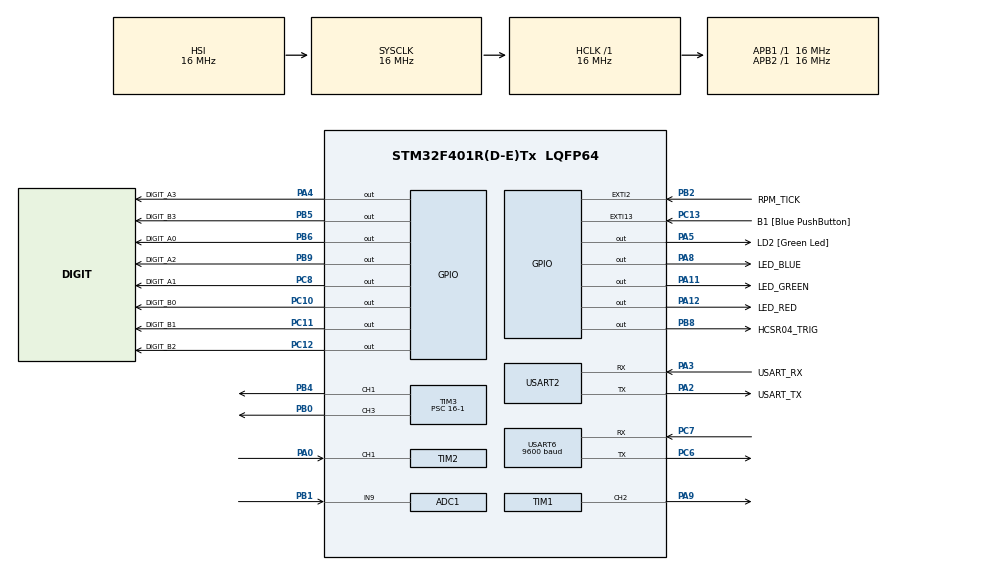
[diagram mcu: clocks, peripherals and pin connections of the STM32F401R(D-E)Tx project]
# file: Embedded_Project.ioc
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ADC1.Channel-0\#ChannelRegularConversion=ADC_CHANNEL_9
ADC1.NbrOfConversionFlag=1
ADC1.Rank-0\#ChannelRegularConversion=1
ADC1.SamplingTime-0\#ChannelRegularConversion=ADC_SAMPLETIME_3CYCLES
ADC1.master=1
Mcu.Family=STM32F4
Mcu.Name=STM32F401R(D-E)Tx
Mcu.Package=LQFP64
NVIC.EXTI15_10_IRQn=true\:0\:0\:false\:false\:true\:true\:true\:true
NVIC.EXTI2_IRQn=true\:0\:0\:false\:false\:true\:true\:true\:true
NVIC.PriorityGroup=NVIC_PRIORITYGROUP_0
NVIC.TIM2_IRQn=true\:0\:0\:false\:false\:true\:true\:true\:true
NVIC.TIM5_IRQn=true\:0\:0\:false\:false\:true\:true\:true\:true
NVIC.USART6_IRQn=true\:0\:0\:false\:false\:true\:true\:true\:true
PA0-WKUP.Signal=S_TIM2_CH1_ETR
PA11.GPIO_Label=LED_GREEN
PA11.Signal=GPIO_Output
PA12.GPIO_Label=LED_RED
PA12.Signal=GPIO_Output
PA13.GPIO_Label=TMS
PA13.Mode=Serial_Wire
PA13.Signal=SYS_JTMS-SWDIO
PA14.GPIO_Label=TCK
PA14.Mode=Serial_Wire
PA14.Signal=SYS_JTCK-SWCLK
PA2.GPIO_Label=USART_TX
PA2.GPIO_Mode=GPIO_MODE_AF_PP
PA2.GPIO_PuPd=GPIO_NOPULL
PA2.GPIO_Speed=GPIO_SPEED_FREQ_LOW
PA2.Mode=Asynchronous
PA2.Signal=USART2_TX
PA3.GPIO_Label=USART_RX
PA3.GPIO_Mode=GPIO_MODE_AF_PP
PA3.GPIO_PuPd=GPIO_NOPULL
PA3.GPIO_Speed=GPIO_SPEED_FREQ_LOW
PA3.Mode=Asynchronous
PA3.Signal=USART2_RX
PA4.GPIO_Label=DIGIT_A3
PA4.Signal=GPIO_Output
PA5.GPIO_Label=LD2 [Green Led]
PA5.GPIO_Mode=GPIO_MODE_OUTPUT_PP
PA5.GPIO_PuPd=GPIO_NOPULL
PA5.GPIO_Speed=GPIO_SPEED_FREQ_LOW
PA5.Signal=GPIO_Output
PA8.GPIO_Label=LED_BLUE
PA8.Signal=GPIO_Output
PA9.Signal=S_TIM1_CH2
PB0.Signal=S_TIM3_CH3
PB1.Signal=ADCx_IN9
PB2.GPIO_Label=RPM_TICK
PB2.Signal=GPXTI2
PB3.GPIO_Label=SWO
PB3.Signal=SYS_JTDO-SWO
PB4.Signal=S_TIM3_CH1
PB5.GPIO_Label=DIGIT_B3
PB5.Signal=GPIO_Output
PB6.GPIO_Label=DIGIT_A0
PB6.Signal=GPIO_Output
PB8.GPIO_Label=HCSR04_TRIG 
PB8.Signal=GPIO_Output
PB9.GPIO_Label=DIGIT_A2
PB9.Signal=GPIO_Output
PC10.GPIO_Label=DIGIT_B0
PC10.Signal=GPIO_Output
PC11.GPIO_Label=DIGIT_B1
PC11.Signal=GPIO_Output
PC12.GPIO_Label=DIGIT_B2
PC12.Signal=GPIO_Output
PC13-ANTI_TAMP.GPIO_Label=B1 [Blue PushButton]
PC13-ANTI_TAMP.GPIO_ModeDefaultEXTI=GPIO_MODE_IT_FALLING
PC13-ANTI_TAMP.GPIO_PuPd=GPIO_NOPULL
PC13-ANTI_TAMP.Signal=GPXTI13
PC14-OSC32_IN.Mode=LSE-External-Oscillator
PC14-OSC32_IN.Signal=RCC_OSC32_IN
PC15-OSC32_OUT.Mode=LSE-External-Oscillator
PC15-OSC32_OUT.Signal=RCC_OSC32_OUT
PC6.Mode=Asynchronous
PC6.Signal=USART6_TX
PC7.Mode=Asynchronous
PC7.Signal=USART6_RX
PC8.GPIO_Label=DIGIT_A1
PC8.Signal=GPIO_Output
PH0\ -\ OSC_IN.Mode=HSE-External-Clock-Source
PH0\ -\ OSC_IN.Signal=RCC_OSC_IN
PH1\ -\ OSC_OUT.Mode=HSE-External-Clock-Source
PH1\ -\ OSC_OUT.Signal=RCC_OSC_OUT
ProjectManager.HeapSize=0x200
ProjectManager.StackSize=0x400
ProjectManager.TargetToolchain=STM32CubeIDE
RCC.48MHZClocksFreq_Value=48000000
RCC.AHBFreq_Value=16000000
RCC.APB1Freq_Value=16000000
RCC.APB1TimFreq_Value=16000000
RCC.APB2Freq_Value=16000000
RCC.APB2TimFreq_Value=16000000
RCC.CortexFreq_Value=16000000
RCC.HCLKFreq_Value=16000000
RCC.HSE_VALUE=8000000
RCC.HSI_VALUE=16000000
RCC.PLLN=336
RCC.PLLP=RCC_PLLP_DIV4
RCC.PLLQ=7
RCC.SYSCLKFreq_VALUE=16000000
RCC.VCOOutputFreq_Value=336000000
SH.ADCx_IN9.0=ADC1_IN9,IN9
SH.S_TIM1_CH2.0=TIM1_CH2,PWM Generation2 CH2
SH.S_TIM2_CH1_ETR.0=TIM2_CH1,Input_Capture1_from_TI1
SH.S_TIM3_CH1.0=TIM3_CH1,PWM Generation1 CH1
SH.S_TIM3_CH3.0=TIM3_CH3,PWM Generation3 CH3
TIM1.AutoReloadPreload=TIM_AUTORELOAD_PRELOAD_ENABLE
TIM1.Channel-PWM\ Generation2\ CH2=TIM_CHANNEL_2
TIM1.Period=20000-1
TIM1.Prescaler=16-1
TIM1.Pulse-PWM\ Generation2\ CH2=500-1
TIM2.AutoReloadPreload=TIM_AUTORELOAD_PRELOAD_ENABLE
TIM2.Channel-Input_Capture1_from_TI1=TIM_CHANNEL_1
TIM2.ICPolarity_CH1=TIM_INPUTCHANNELPOLARITY_BOTHEDGE
TIM2.Period=65536-1
TIM2.Prescaler=16-1
TIM3.AutoReloadPreload=TIM_AUTORELOAD_PRELOAD_ENABLE
TIM3.Channel-PWM\ Generation1\ CH1=TIM_CHANNEL_1
TIM3.Channel-PWM\ Generation3\ CH3=TIM_CHANNEL_3
TIM3.Period=2000-1
TIM3.Prescaler=16-1
TIM3.Pulse-PWM\ Generation1\ CH1=1200-1
TIM5.Period=1000-1
TIM5.Prescaler=16000-1
USART2.VirtualMode=VM_ASYNC
USART6.BaudRate=9600
USART6.VirtualMode=VM_ASYNC
VP_TIM2_VS_ClockSourceINT.Mode=Internal
VP_TIM3_VS_ClockSourceINT.Mode=Internal
VP_TIM5_VS_ClockSourceINT.Mode=Internal
board=NUCLEO-F401RE

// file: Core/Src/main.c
/* USER CODE BEGIN Header */
/**
 ******************************************************************************
 * @file           : main.c
 * @brief          : Main program body
 ******************************************************************************
 * @attention
 *
 * Copyright (c) 2023 STMicroelectronics.
 * All rights reserved.
 *
 * This software is licensed under terms that can be found in the LICENSE file
 * in the root directory of this software component.
 * If no LICENSE file comes with this software, it is provided AS-IS.
 *
 ******************************************************************************
 */
/* USER CODE END Header */
#include "main.h"

ADC_HandleTypeDef hadc1;

TIM_HandleTypeDef htim1;
TIM_HandleTypeDef htim2;
TIM_HandleTypeDef htim3;
TIM_HandleTypeDef htim5;

UART_HandleTypeDef huart2;
UART_HandleTypeDef huart6;

void SystemClock_Config(void);
static void MX_GPIO_Init(void);
static void MX_USART2_UART_Init(void);
static void MX_ADC1_Init(void);
static void MX_TIM2_Init(void);
static void MX_TIM3_Init(void);
static void MX_USART6_UART_Init(void);
static void MX_TIM5_Init(void);
static void MX_TIM1_Init(void);
/* USER CODE BEGIN PFP */
static void ADC_Select_CH(int CH);
/* USER CODE END PFP */

/* USER CODE BEGIN 0 */
void DIGITS_Display(uint8_t DIGIT_A, uint8_t DIGIT_B) {
	uint8_t DIGITA_VAL = 0x0F & DIGIT_A; //mask off higher4 bits
	int Abit0 = (DIGITA_VAL) & 1;  	// extract Abit0 of the 4-bit value
	int Abit1 = (DIGITA_VAL >> 1) & 1;  // extract Abit1 of the 4-bit value
	int Abit2 = (DIGITA_VAL >> 2) & 1;  // extract Abit2 of the 4-bit value
	int Abit3 = (DIGITA_VAL >> 3) & 1;  // extract Abit3 of the 4-bit value

	uint8_t DIGITB_VAL = 0x0F & DIGIT_B; //mask off higher4 bits
	int Bbit0 = (DIGITB_VAL) & 1;  	// extract Bbit0 of the 4-bit value
	int Bbit1 = (DIGITB_VAL >> 1) & 1;  // extract Bbit1 of the 4-bit value
	int Bbit2 = (DIGITB_VAL >> 2) & 1;  // extract Bbit2 of the 4-bit value
	int Bbit3 = (DIGITB_VAL >> 3) & 1;  // extract Bbit3 of the 4-bit value

	if (Abit0 == (0)) {
		HAL_GPIO_WritePin(GPIOB, DIGIT_A0_Pin, GPIO_PIN_RESET);
	} else {
		HAL_GPIO_WritePin(GPIOB, DIGIT_A0_Pin, GPIO_PIN_SET);

	}
	if (Abit1 == (0)) {
		HAL_GPIO_WritePin(GPIOC, DIGIT_A1_Pin, GPIO_PIN_RESET);
	} else {
		HAL_GPIO_WritePin(GPIOC, DIGIT_A1_Pin, GPIO_PIN_SET);

	}
	if (Abit2 == (0)) {
		HAL_GPIO_WritePin(GPIOB, DIGIT_A2_Pin, GPIO_PIN_RESET);
	} else {
		HAL_GPIO_WritePin(GPIOB, DIGIT_A2_Pin, GPIO_PIN_SET);

	}
	if (Abit3 == (0)) {
		HAL_GPIO_WritePin(GPIOA, DIGIT_A3_Pin, GPIO_PIN_RESET);
	} else {
		HAL_GPIO_WritePin(GPIOA, DIGIT_A3_Pin, GPIO_PIN_SET);

	}

	if (Bbit0 == (0)) {
		HAL_GPIO_WritePin(GPIOC, DIGIT_B0_Pin, GPIO_PIN_RESET);
	} else {
		HAL_GPIO_WritePin(GPIOC, DIGIT_B0_Pin, GPIO_PIN_SET);

	}
	if (Bbit1 == (0)) {
		HAL_GPIO_WritePin(GPIOC, DIGIT_B1_Pin, GPIO_PIN_RESET);
	} else {
		HAL_GPIO_WritePin(GPIOC, DIGIT_B1_Pin, GPIO_PIN_SET);

	}
	if (Bbit2 == (0)) {
		HAL_GPIO_WritePin(GPIOC, DIGIT_B2_Pin, GPIO_PIN_RESET);
	} else {
		HAL_GPIO_WritePin(GPIOC, DIGIT_B2_Pin, GPIO_PIN_SET);

	}
	if (Bbit3 == (0)) {
		HAL_GPIO_WritePin(GPIOB, DIGIT_B3_Pin, GPIO_PIN_RESET);
	} else {
		HAL_GPIO_WritePin(GPIOB, DIGIT_B3_Pin, GPIO_PIN_SET);

	}
}
void ADC_Select_CH(int CH) {
	ADC_ChannelConfTypeDef sConfig = { 0 };
	switch (CH) {
	case 0:
		sConfig.Channel = ADC_CHANNEL_0;
		sConfig.Rank = 1;
		if (HAL_ADC_ConfigChannel(&hadc1, &sConfig) != HAL_OK) {
			Error_Handler();
		}
		break;
	case 1:
		sConfig.Channel = ADC_CHANNEL_1;
		sConfig.Rank = 1;
		if (HAL_ADC_ConfigChannel(&hadc1, &sConfig) != HAL_OK) {
			Error_Handler();
		}
		break;
	case 2:
		sConfig.Channel = ADC_CHANNEL_2;
		sConfig.Rank = 1;
		if (HAL_ADC_ConfigChannel(&hadc1, &sConfig) != HAL_OK) {
			Error_Handler();
		}
		break;
	case 3:
		sConfig.Channel = ADC_CHANNEL_3;
		sConfig.Rank = 1;
		if (HAL_ADC_ConfigChannel(&hadc1, &sConfig) != HAL_OK) {
			Error_Handler();
		}
		break;
	case 4:
		sConfig.Channel = ADC_CHANNEL_4;
		sConfig.Rank = 1;
		if (HAL_ADC_ConfigChannel(&hadc1, &sConfig) != HAL_OK) {
			Error_Handler();
		}
		break;
	case 5:
		sConfig.Channel = ADC_CHANNEL_5;
		sConfig.Rank = 1;
		if (HAL_ADC_ConfigChannel(&hadc1, &sConfig) != HAL_OK) {
			Error_Handler();
		}
		break;
	case 6:
		sConfig.Channel = ADC_CHANNEL_6;
		sConfig.Rank = 1;
		if (HAL_ADC_ConfigChannel(&hadc1, &sConfig) != HAL_OK) {
			Error_Handler();
		}
		break;
	case 7:
		sConfig.Channel = ADC_CHANNEL_7;
		sConfig.Rank = 1;
		if (HAL_ADC_ConfigChannel(&hadc1, &sConfig) != HAL_OK) {
			Error_Handler();
		}
		break;
	case 8:
		sConfig.Channel = ADC_CHANNEL_8;
		sConfig.Rank = 1;
		if (HAL_ADC_ConfigChannel(&hadc1, &sConfig) != HAL_OK) {
			Error_Handler();
		}
		break;
	case 9:
		sConfig.Channel = ADC_CHANNEL_9;
		sConfig.Rank = 1;
		if (HAL_ADC_ConfigChannel(&hadc1, &sConfig) != HAL_OK) {
			Error_Handler();
		}
		break;
	case 10:
		sConfig.Channel = ADC_CHANNEL_10;
		sConfig.Rank = 1;
		if (HAL_ADC_ConfigChannel(&hadc1, &sConfig) != HAL_OK) {
			Error_Handler();
		}
		break;
	case 11:
		sConfig.Channel = ADC_CHANNEL_11;
		sConfig.Rank = 1;
		if (HAL_ADC_ConfigChannel(&hadc1, &sConfig) != HAL_OK) {
			Error_Handler();
		}
		break;
	case 12:
		sConfig.Channel = ADC_CHANNEL_12;
		sConfig.Rank = 1;
		if (HAL_ADC_ConfigChannel(&hadc1, &sConfig) != HAL_OK) {
			Error_Handler();
		}
		break;
	case 13:
		sConfig.Channel = ADC_CHANNEL_13;
		sConfig.Rank = 1;
		if (HAL_ADC_ConfigChannel(&hadc1, &sConfig) != HAL_OK) {
			Error_Handler();
		}
		break;
	case 14:
		sConfig.Channel = ADC_CHANNEL_14;
		sConfig.Rank = 1;
		if (HAL_ADC_ConfigChannel(&hadc1, &sConfig) != HAL_OK) {
			Error_Handler();
		}
		break;
	case 15:
		sConfig.Channel = ADC_CHANNEL_15;
		sConfig.Rank = 1;
		if (HAL_ADC_ConfigChannel(&hadc1, &sConfig) != HAL_OK) {
			Error_Handler();
		}
		break;
	}
}
volatile uint8_t hcsr04_Rx_flag = 0;
volatile uint8_t first_edge = 0;
volatile uint16_t time_edge1 = 0;
volatile uint16_t time_edge2 = 0;
volatile uint16_t rpm_tick_count = 0;
volatile uint8_t clock_secs = 0;
volatile int trig = 0;
int8_t MotorInputs[4];
int8_t WallClkInputs[9];

/* USER CODE END 0 */

int main(void) {
	/* USER CODE BEGIN 1 */
	uint8_t txd_msg_buffer[128] = { 0 };
	uint8_t rxd_msg_buffer[128] = { 0 };
	uint16_t time_diff = 0;
	uint16_t distance = 0;

	void HCSR04_TRIG_PULSE(void) {
		HAL_GPIO_WritePin(HCSR04_TRIG_GPIO_Port, HCSR04_TRIG_Pin, GPIO_PIN_SET);
		for (int j = 0; j != 15; j = j + 1) {
		};
		HAL_GPIO_WritePin(HCSR04_TRIG_GPIO_Port, HCSR04_TRIG_Pin,
				GPIO_PIN_RESET);
	}
	/* USER CODE END 1 */

	/* MCU Configuration--------------------------------------------------------*/

	/* Reset of all peripherals, Initializes the Flash interface and the Systick. */
	HAL_Init();

	/* Configure the system clock */
	SystemClock_Config();

	/* Initialize all configured peripherals */
	MX_GPIO_Init();
	MX_USART2_UART_Init();
	MX_ADC1_Init();
	MX_TIM2_Init();
	MX_TIM3_Init();
	MX_USART6_UART_Init();
	MX_TIM5_Init();
	MX_TIM1_Init();
	/* USER CODE BEGIN 2 */
	HAL_TIM_Base_Init(&htim3);
	HAL_TIM_Base_Init(&htim2);
	HAL_TIM_Base_Start(&htim2);
	HAL_TIM_IC_Start_IT(&htim2, TIM_CHANNEL_1);
	HAL_TIM_PWM_Start(&htim3, TIM_CHANNEL_1);
	HAL_TIM_PWM_Start(&htim3, TIM_CHANNEL_3);

	// start up TIMER 5 for one second interrupts

	__HAL_RCC_GPIOC_CLK_ENABLE();
	__HAL_RCC_GPIOH_CLK_ENABLE();
	__HAL_RCC_GPIOB_CLK_ENABLE();
	__HAL_RCC_GPIOA_CLK_ENABLE();

	GPIO_InitTypeDef GPIO_InitStruct;
	GPIO_InitStruct.Pin = GPIO_PIN_5;
	GPIO_InitStruct.Mode = GPIO_MODE_OUTPUT_PP;
	GPIO_InitStruct.Speed = GPIO_SPEED_FREQ_LOW;
	HAL_GPIO_Init(GPIOA, &GPIO_InitStruct);

	int TIM1_Ch2_DCVAL = 500;
	int TIM1_CH2_STEP = 20;

	HAL_TIM_Base_Start(&htim1);
	HAL_TIM_PWM_Start(&htim1, TIM_CHANNEL_2);
	TIM1->PSC = 16 - 1;
	TIM1->ARR = 20000 - 1;
	TIM1->CCR1 = TIM1_Ch2_DCVAL;
	/* USER CODE END 2 */

	/* Infinite loop */
	/* USER CODE BEGIN WHILE */
	int counter = 0;
	//HCSR04_TRIG_PULSE();

	// SETUP MODE //

	TIM3->CCR1 = 0;
	TIM3->CCR3 = 0;
	HAL_GPIO_WritePin(GPIOA, GPIO_PIN_5, GPIO_PIN_RESET);

	sprintf((char*) txd_msg_buffer, "\r\nSETUP MODE\r\n");
	HAL_UART_Transmit(&huart6, txd_msg_buffer, strlen((char*) txd_msg_buffer),
			100);

	//Motor Inputs
	sprintf((char*) txd_msg_buffer, "INTLET MOTOR SPEED PWM (option 0-3):");
	HAL_UART_Transmit(&huart6, txd_msg_buffer, strlen((char*) txd_msg_buffer),
			100);
	while (1) {
		HAL_UART_Receive(&huart6, rxd_msg_buffer, 1, HAL_MAX_DELAY);
		if (*rxd_msg_buffer - '0' >= 0 && *rxd_msg_buffer - '0' <= 3)
			break;
	}
	sprintf((char*) txd_msg_buffer, "%d\r\n", *rxd_msg_buffer - '0');
	HAL_UART_Transmit(&huart6, txd_msg_buffer, strlen((char*) txd_msg_buffer),
			100);
	MotorInputs[0] = *rxd_msg_buffer - '0';

	sprintf((char*) txd_msg_buffer, "ZONE 1 MOTOR SPEED PWM (option 0-3):");
	HAL_UART_Transmit(&huart6, txd_msg_buffer, strlen((char*) txd_msg_buffer),
			100);
	while (1) {
		HAL_UART_Receive(&huart6, rxd_msg_buffer, 1, HAL_MAX_DELAY);
		if (*rxd_msg_buffer - '0' >= 0 && *rxd_msg_buffer - '0' <= 3)
			break;
	}
	sprintf((char*) txd_msg_buffer, "%d\r\n", *rxd_msg_buffer - '0');
	HAL_UART_Transmit(&huart6, txd_msg_buffer, strlen((char*) txd_msg_buffer),
			100);
	MotorInputs[1] = *rxd_msg_buffer - '0';

	sprintf((char*) txd_msg_buffer, "ZONE 2 MOTOR SPEED PWM (option 0-3):");
	HAL_UART_Transmit(&huart6, txd_msg_buffer, strlen((char*) txd_msg_buffer),
			100);
	while (1) {
		HAL_UART_Receive(&huart6, rxd_msg_buffer, 1, HAL_MAX_DELAY);
		if (*rxd_msg_buffer - '0' >= 0 && *rxd_msg_buffer - '0' <= 3)
			break;
	}
	sprintf((char*) txd_msg_buffer, "%d\r\n", *rxd_msg_buffer - '0');
	HAL_UART_Transmit(&huart6, txd_msg_buffer, strlen((char*) txd_msg_buffer),
			100);
	MotorInputs[2] = *rxd_msg_buffer - '0';

	sprintf((char*) txd_msg_buffer, "ZONE 3 MOTOR SPEED PWM (option 0-3):");
	HAL_UART_Transmit(&huart6, txd_msg_buffer, strlen((char*) txd_msg_buffer),
			100);
	while (1) {
		HAL_UART_Receive(&huart6, rxd_msg_buffer, 1, HAL_MAX_DELAY);
		if (*rxd_msg_buffer - '0' >= 0 && *rxd_msg_buffer - '0' <= 3)
			break;
	}
	sprintf((char*) txd_msg_buffer, "%d\r\n", *rxd_msg_buffer - '0');
	HAL_UART_Transmit(&huart6, txd_msg_buffer, strlen((char*) txd_msg_buffer),
			100);
	MotorInputs[3] = *rxd_msg_buffer - '0';

	int recvd;
	//Wall Clock Inputs
	sprintf((char*) txd_msg_buffer, "CURRENT WALL CLOCK TIME (0-23):");
	HAL_UART_Transmit(&huart6, txd_msg_buffer, strlen((char*) txd_msg_buffer),
			100);
	//while (HAL_UART_Receive(&huart6, rxd_msg_buffer, 2, HAL_MAX_DELAY) != HAL_OK);
	while (1) {
		HAL_UART_Receive(&huart6, rxd_msg_buffer, 2, HAL_MAX_DELAY);
		recvd = (rxd_msg_buffer[0] - '0') * 10 + (rxd_msg_buffer[1] - '0');
		if (recvd >= 0 && recvd <= 23)
			break;
	}
	sprintf((char*) txd_msg_buffer, "%d\r\n",
			(rxd_msg_buffer[0] - '0') * 10 + (rxd_msg_buffer[1] - '0'));
	HAL_UART_Transmit(&huart6, txd_msg_buffer, strlen((char*) txd_msg_buffer),
			100);
	WallClkInputs[0] = (rxd_msg_buffer[0] - '0') * 10
			+ (rxd_msg_buffer[1] - '0');
	sprintf((char*) txd_msg_buffer, "INLET WALL CLOCK START TIME (0-23):");
	HAL_UART_Transmit(&huart6, txd_msg_buffer, strlen((char*) txd_msg_buffer),
			100);
	//while (HAL_UART_Receive(&huart6, rxd_msg_buffer, 2, HAL_MAX_DELAY) != HAL_OK);
	while (1) {
		HAL_UART_Receive(&huart6, rxd_msg_buffer, 2, HAL_MAX_DELAY);
		recvd = (rxd_msg_buffer[0] - '0') * 10 + (rxd_msg_buffer[1] - '0');
		if (recvd >= 0 && recvd <= 23)
			break;
	}
	sprintf((char*) txd_msg_buffer, "%d\r\n",
			(rxd_msg_buffer[0] - '0') * 10 + (rxd_msg_buffer[1] - '0'));
	HAL_UART_Transmit(&huart6, txd_msg_buffer, strlen((char*) txd_msg_buffer),
			100);
	WallClkInputs[1] = (rxd_msg_buffer[0] - '0') * 10
			+ (rxd_msg_buffer[1] - '0');
	sprintf((char*) txd_msg_buffer, "INLET WALL CLOCK STOP TIME (0-23):");
	HAL_UART_Transmit(&huart6, txd_msg_buffer, strlen((char*) txd_msg_buffer),
			100);
	//while (HAL_UART_Receive(&huart6, rxd_msg_buffer, 2, HAL_MAX_DELAY) != HAL_OK);
	while (1) {
		HAL_UART_Receive(&huart6, rxd_msg_buffer, 2, HAL_MAX_DELAY);
		recvd = (rxd_msg_buffer[0] - '0') * 10 + (rxd_msg_buffer[1] - '0');
		if (recvd >= 0 && recvd <= 23)
			break;
	}
	sprintf((char*) txd_msg_buffer, "%d\r\n",
			(rxd_msg_buffer[0] - '0') * 10 + (rxd_msg_buffer[1] - '0'));
	HAL_UART_Transmit(&huart6, txd_msg_buffer, strlen((char*) txd_msg_buffer),
			100);
	WallClkInputs[2] = (rxd_msg_buffer[0] - '0') * 10
			+ (rxd_msg_buffer[1] - '0');
	sprintf((char*) txd_msg_buffer, "ZONE 1 WALL CLOCK START TIME (0-23):");
	HAL_UART_Transmit(&huart6, txd_msg_buffer, strlen((char*) txd_msg_buffer),
			100);
	//while (HAL_UART_Receive(&huart6, rxd_msg_buffer, 2, HAL_MAX_DELAY) != HAL_OK);
	while (1) {
		HAL_UART_Receive(&huart6, rxd_msg_buffer, 2, HAL_MAX_DELAY);
		recvd = (rxd_msg_buffer[0] - '0') * 10 + (rxd_msg_buffer[1] - '0');
		if (recvd >= 0 && recvd <= 23)
			break;
	}
	sprintf((char*) txd_msg_buffer, "%d\r\n",
			(rxd_msg_buffer[0] - '0') * 10 + (rxd_msg_buffer[1] - '0'));
	HAL_UART_Transmit(&huart6, txd_msg_buffer, strlen((char*) txd_msg_buffer),
			100);
	WallClkInputs[3] = (rxd_msg_buffer[0] - '0') * 10
			+ (rxd_msg_buffer[1] - '0');
	sprintf((char*) txd_msg_buffer, "ZONE 1 WALL CLOCK STOP TIME (0-23):");
	HAL_UART_Transmit(&huart6, txd_msg_buffer, strlen((char*) txd_msg_buffer),
			100);
	//while (HAL_UART_Receive(&huart6, rxd_msg_buffer, 2, HAL_MAX_DELAY) != HAL_OK);
	while (1) {
		HAL_UART_Receive(&huart6, rxd_msg_buffer, 2, HAL_MAX_DELAY);
		recvd = (rxd_msg_buffer[0] - '0') * 10 + (rxd_msg_buffer[1] - '0');
		if (recvd >= 0 && recvd <= 23)
			break;
	}
	sprintf((char*) txd_msg_buffer, "%d\r\n",
			(rxd_msg_buffer[0] - '0') * 10 + (rxd_msg_buffer[1] - '0'));
	HAL_UART_Transmit(&huart6, txd_msg_buffer, strlen((char*) txd_msg_buffer),
			100);
	WallClkInputs[4] = (rxd_msg_buffer[0] - '0') * 10
			+ (rxd_msg_buffer[1] - '0');
	sprintf((char*) txd_msg_buffer, "ZONE 2 WALL CLOCK START TIME (0-23):");
	HAL_UART_Transmit(&huart6, txd_msg_buffer, strlen((char*) txd_msg_buffer),
			100);
	//while (HAL_UART_Receive(&huart6, rxd_msg_buffer, 2, HAL_MAX_DELAY) != HAL_OK);
	while (1) {
		HAL_UART_Receive(&huart6, rxd_msg_buffer, 2, HAL_MAX_DELAY);
		recvd = (rxd_msg_buffer[0] - '0') * 10 + (rxd_msg_buffer[1] - '0');
		if (recvd >= 0 && recvd <= 23)
			break;
	}
	sprintf((char*) txd_msg_buffer, "%d\r\n",
			(rxd_msg_buffer[0] - '0') * 10 + (rxd_msg_buffer[1] - '0'));
	HAL_UART_Transmit(&huart6, txd_msg_buffer, strlen((char*) txd_msg_buffer),
			100);
	WallClkInputs[5] = (rxd_msg_buffer[0] - '0') * 10
			+ (rxd_msg_buffer[1] - '0');
	sprintf((char*) txd_msg_buffer, "ZONE 2 WALL CLOCK STOP TIME (0-23):");
	HAL_UART_Transmit(&huart6, txd_msg_buffer, strlen((char*) txd_msg_buffer),
			100);
	//while (HAL_UART_Receive(&huart6, rxd_msg_buffer, 2, HAL_MAX_DELAY) != HAL_OK);
	while (1) {
		HAL_UART_Receive(&huart6, rxd_msg_buffer, 2, HAL_MAX_DELAY);
		recvd = (rxd_msg_buffer[0] - '0') * 10 + (rxd_msg_buffer[1] - '0');
		if (recvd >= 0 && recvd <= 23)
			break;
	}
	sprintf((char*) txd_msg_buffer, "%d\r\n",
			(rxd_msg_buffer[0] - '0') * 10 + (rxd_msg_buffer[1] - '0'));
	HAL_UART_Transmit(&huart6, txd_msg_buffer, strlen((char*) txd_msg_buffer),
			100);
	WallClkInputs[6] = (rxd_msg_buffer[0] - '0') * 10
			+ (rxd_msg_buffer[1] - '0');
	sprintf((char*) txd_msg_buffer, "ZONE 3 WALL CLOCK START TIME (0-23):");
	HAL_UART_Transmit(&huart6, txd_msg_buffer, strlen((char*) txd_msg_buffer),
			100);
	//while (HAL_UART_Receive(&huart6, rxd_msg_buffer, 2, HAL_MAX_DELAY) != HAL_OK);
	while (1) {
		HAL_UART_Receive(&huart6, rxd_msg_buffer, 2, HAL_MAX_DELAY);
		recvd = (rxd_msg_buffer[0] - '0') * 10 + (rxd_msg_buffer[1] - '0');
		if (recvd >= 0 && recvd <= 23)
			break;
	}
	sprintf((char*) txd_msg_buffer, "%d\r\n",
			(rxd_msg_buffer[0] - '0') * 10 + (rxd_msg_buffer[1] - '0'));
	HAL_UART_Transmit(&huart6, txd_msg_buffer, strlen((char*) txd_msg_buffer),
			100);
	WallClkInputs[7] = (rxd_msg_buffer[0] - '0') * 10
			+ (rxd_msg_buffer[1] - '0');
	sprintf((char*) txd_msg_buffer, "ZONE 3 WALL CLOCK STOP TIME (0-23):");
	HAL_UART_Transmit(&huart6, txd_msg_buffer, strlen((char*) txd_msg_buffer),
			100);
	//while (HAL_UART_Receive(&huart6, rxd_msg_buffer, 2, HAL_MAX_DELAY) != HAL_OK);
	while (1) {
		HAL_UART_Receive(&huart6, rxd_msg_buffer, 2, HAL_MAX_DELAY);
		recvd = (rxd_msg_buffer[0] - '0') * 10 + (rxd_msg_buffer[1] - '0');
		if (recvd >= 0 && recvd <= 23)
			break;
	}
	sprintf((char*) txd_msg_buffer, "%d\r\n",
			(rxd_msg_buffer[0] - '0') * 10 + (rxd_msg_buffer[1] - '0'));
	HAL_UART_Transmit(&huart6, txd_msg_buffer, strlen((char*) txd_msg_buffer),
			100);
	WallClkInputs[8] = (rxd_msg_buffer[0] - '0') * 10
			+ (rxd_msg_buffer[1] - '0');

	while (HAL_GPIO_ReadPin(GPIOC, B1_Pin)) {
		HAL_GPIO_WritePin(GPIOA, LD2_Pin, GPIO_PIN_SET);
		HAL_Delay(250);
		HAL_GPIO_WritePin(GPIOA, LD2_Pin, GPIO_PIN_RESET);
		HAL_Delay(250);
	}

	// RUN MODE //

	HAL_TIM_Base_Start_IT(&htim5);

	// Calculate the time elapsed for each
	HAL_GPIO_WritePin(GPIOA, GPIO_PIN_5, GPIO_PIN_SET);
	int w_clk_mins = WallClkInputs[0] / 10;
	int w_clk_secs = ((WallClkInputs[0] % 10) * 60) / 10;
	int time_1 = (WallClkInputs[2] - WallClkInputs[1]) / 10;
	int time_2 = (WallClkInputs[4] - WallClkInputs[3]) / 10;
	int time_3 = (WallClkInputs[6] - WallClkInputs[5]) / 10;
	int time_4 = (WallClkInputs[8] - WallClkInputs[7]) / 10;
	int wall_clock = WallClkInputs[0];
	int res_percent = 0;
	uint8_t tens = 0; // Mask to keep only 4 bits
	uint8_t ones = 0; // Mask to keep only 4 bits
	int print_once = 0;
	int rotations = 0;
	int percentDist = 0;
	uint16_t rpm = 0;
	int Inlet = 0;
	int Z1 = 0;
	int Z2 = 0;
	int Z3 = 0;

	char zone[6];
	strcpy(zone, "N/A");
	char mode[7];
	strcpy(mode, "N/A");

	sprintf((char*) txd_msg_buffer,
			"Wall Clock Time    Zone/Inlet    Motor Speed PWM    Motor RPM    Water Reservoir Depth\r\n");
	HAL_UART_Transmit(&huart6, txd_msg_buffer, strlen((char*) txd_msg_buffer),
			100);

	while (1) {
		HAL_Delay(50);
		ADC_Select_CH(9);
		HAL_ADC_Start(&hadc1);
		HAL_ADC_PollForConversion(&hadc1, 1000);
		uint8_t ADC_CH9 = HAL_ADC_GetValue(&hadc1);
		HAL_ADC_Stop(&hadc1);

		hcsr04_Rx_flag = 0;
		first_edge = 0;
		time_edge1 = 0;
		time_edge2 = 0;
		time_diff = 0;
		distance = 0;
		HCSR04_TRIG_PULSE();
		while (hcsr04_Rx_flag == 0) {
		};
		distance = (time_edge2 - time_edge1) / 58;
		percentDist = ((double) (distance - 3) * (double) 100) / 16;
		if (distance >= 16)
			percentDist = 99;
		tens = (percentDist / 10) & 0x0F; // Mask to keep only 4 bits
		ones = (percentDist % 10) & 0x0F; // Mask to keep only 4 bits
		DIGITS_Display(tens, ones);
		if (percentDist == 0) {
			TIM3->CCR1 = 0;
			TIM3->CCR3 = 0;
			sprintf((char*) txd_msg_buffer, "RESERVOIR IS EMPTY!");
			HAL_UART_Transmit(&huart6, txd_msg_buffer,
					strlen((char*) txd_msg_buffer), 100);
			break;
		}
		if (WallClkInputs[1] == wall_clock || Inlet) {
			Inlet = 1;
			strcpy(zone, "INLET");
			TIM1->CCR2 = 500;
			HAL_GPIO_WritePin(GPIOA, LED_BLUE_Pin, GPIO_PIN_SET);
			HAL_GPIO_WritePin(GPIOA, LED_RED_Pin, GPIO_PIN_SET);
			if (MotorInputs[0] == 0) {
				strcpy(mode, "MANUAL");
				TIM3->CCR1 = 1200 + (ADC_CH9 * 3);
			} else if (MotorInputs[0] == 1) {
				strcpy(mode, "60");
				TIM3->CCR1 = 1200;
			} else if (MotorInputs[0] == 2) {
				strcpy(mode, "80");
				TIM3->CCR1 = 1600;
			} else if (MotorInputs[0] == 3) {
				strcpy(mode, "99");
				TIM3->CCR1 = 1980;
			}
		} else if (WallClkInputs[3] == wall_clock || Z1) {
			Z1 = 1;
			TIM1->CCR2 = 2000;
			strcpy(zone, "1");
			HAL_GPIO_WritePin(GPIOA, LED_RED_Pin, GPIO_PIN_SET);
			if (MotorInputs[1] == 0) {
				strcpy(mode, "MANUAL");
				TIM3->CCR3 = 1200 + (ADC_CH9 * 3);
			} else if (MotorInputs[1] == 1) {
				strcpy(mode, "60");
				TIM3->CCR3 = 1200;
			} else if (MotorInputs[1] == 2) {
				strcpy(mode, "80");
				TIM3->CCR3 = 1600;
			} else if (MotorInputs[1] == 3) {
				strcpy(mode, "99");
				TIM3->CCR3 = 1980;
			}
		} else if (WallClkInputs[5] == wall_clock || Z2) {
			Z2 = 1;
			TIM1->CCR2 = 1500;
			strcpy(zone, "2");
			HAL_GPIO_WritePin(GPIOA, LED_GREEN_Pin, GPIO_PIN_SET);
			if (MotorInputs[2] == 0) {
				strcpy(mode, "MANUAL");
				TIM3->CCR3 = 1200 + (ADC_CH9 * 3);
			} else if (MotorInputs[2] == 1) {
				strcpy(mode, "60");
				TIM3->CCR3 = 1200;
			} else if (MotorInputs[2] == 2) {
				strcpy(mode, "80");
				TIM3->CCR3 = 1600;
			} else if (MotorInputs[2] == 3) {
				strcpy(mode, "99");
				TIM3->CCR3 = 1980;
			}
		} else if (WallClkInputs[7] == wall_clock || Z3) {
			Z3 = 1;
			TIM1->CCR2 = 1000;
			strcpy(zone, "3");
			HAL_GPIO_WritePin(GPIOA, LED_BLUE_Pin, GPIO_PIN_SET);
			if (MotorInputs[3] == 0) {
				strcpy(mode, "MANUAL");
				TIM3->CCR3 = 1200 + (ADC_CH9 * 3);
			} else if (MotorInputs[3] == 1) {
				strcpy(mode, "60");
				TIM3->CCR3 = 1200;
			} else if (MotorInputs[3] == 2) {
				strcpy(mode, "80");
				TIM3->CCR3 = 1600;
			} else if (MotorInputs[3] == 3) {
				strcpy(mode, "99");
				TIM3->CCR3 = 1980;
			}
		} else {
			TIM1->CCR2 = 2500;
			TIM3->CCR1 = 0;
			TIM3->CCR3 = 0;

			rpm_tick_count = 0;
			strcpy(zone, "N/A");
			strcpy(mode, "N/A");
		}
		if (WallClkInputs[2] == wall_clock)
			Inlet = 0;
		if (WallClkInputs[4] == wall_clock)
			Z1 = 0;
		if (WallClkInputs[6] == wall_clock)
			Z2 = 0;
		if (WallClkInputs[8] == wall_clock)
			Z3 = 0;
		if (clock_secs % 6 == 0 && clock_secs != 0 && print_once != 1) {
			HAL_GPIO_WritePin(GPIOA, LED_BLUE_Pin, GPIO_PIN_RESET);
			HAL_GPIO_WritePin(GPIOA, LED_RED_Pin, GPIO_PIN_RESET);
			HAL_GPIO_WritePin(GPIOA, LED_GREEN_Pin, GPIO_PIN_RESET);
			rpm = rpm_tick_count * 0.5;
			sprintf((char*) txd_msg_buffer, "	%d:%d		%s		%s		%d		%d\r\n",
					w_clk_mins, w_clk_secs, zone, mode, rpm, distance);
			HAL_UART_Transmit(&huart6, txd_msg_buffer,
					strlen((char*) txd_msg_buffer), 100);
			wall_clock++;
			if (wall_clock == 24)
				wall_clock = 0;
			if (wall_clock == WallClkInputs[0])
				break;
			w_clk_mins = wall_clock / 10;
			w_clk_secs = ((wall_clock % 10) * 60) / 10;
			rpm_tick_count = 0;
			TIM3->CCR1 = 0;
			TIM3->CCR3 = 0;
			print_once = 1;
		}
		if (clock_secs % 6 != 0) {
			print_once = 0;
		}

	}
	HAL_GPIO_WritePin(GPIOA, LED_BLUE_Pin, GPIO_PIN_SET);
	HAL_GPIO_WritePin(GPIOA, LED_RED_Pin, GPIO_PIN_SET);
	HAL_GPIO_WritePin(GPIOA, LED_GREEN_Pin, GPIO_PIN_SET);
	HAL_GPIO_WritePin(GPIOA, LD2_Pin, GPIO_PIN_RESET);

//	  hcsr04_Rx_flag = 0;
//	  first_edge = 0;
//	  time_edge1 = 0;
//	  time_edge2 = 0;
//	  time_diff = 0;
//	  distance = 0;
//
//	  HCSR04_TRIG_PULSE();
//	  while (hcsr04_Rx_flag == 0) {};
//
//	  time_diff = time_edge2 - time_edge1;
//	  sprintf((char*)txd_msg_buffer, "ECHO Pulse Width (usec): %d\r\n", time_diff);
//	  HAL_UART_Transmit(&huart6, txd_msg_buffer, strlen((char*)txd_msg_buffer), 100);
//
//	  // calc distance
//	  distance = time_diff / 58;
//	  sprintf((char*)txd_msg_buffer, "DISTANCE TO OBJECT: %d\r\n", distance);
//	  HAL_UART_Transmit(&huart6, txd_msg_buffer, strlen((char*)txd_msg_buffer), 100);

//	  counter = 1200;
//	  while (counter <= 2000) {
//		  TIM3 -> CCR3 = 0;
//		  printf("Vals: %d\n", TIM3 -> CCR1 );
//		  sprintf((char*)txd_msg_buffer, "RPM tick count: %d\r\n", rpm_tick_count);
//		  HAL_UART_Transmit(&huart6, txd_msg_buffer, strlen((char*)txd_msg_buffer), 100);
//		  TIM3 -> CCR1 = counter;
//		  counter += 200;
//		  HAL_Delay(5000);
//	  }
//	  counter = 1200;
//	  while (counter <= 2000) {
//			  TIM3 -> CCR1 = 0;
//			  printf("Vals: %d\n", TIM3 -> CCR3);
//			  sprintf((char*)txd_msg_buffer, "RPM tick count: %d\r\n", rpm_tick_count);
//			  HAL_UART_Transmit(&huart6, txd_msg_buffer, strlen((char*)txd_msg_buffer), 100);
//			  TIM3 -> CCR3 = counter;
//			  counter += 200;
//			  HAL_Delay(5000);
//		}

//	 for (counter = 0; counter <= 99; counter++) {
//		 	 uint8_t tens = counter / 10;
//		 	uint8_t ones = counter % 10;
//
//	        // Convert the binary values to decimal values
//	        uint8_t decimalTens = tens & 0x0F; // Mask to keep only 4 bits
//	        uint8_t decimalOnes = ones & 0x0F; // Mask to keep only 4 bits
//
//	        // Print the results
//
//		int hours = clock_secs / 3600;
//		int mins = clock_secs / 60;
//		int secs = clock_secs;
//		sprintf((char*) txd_msg_buffer,
//				"Clock Time (Real) \r\nHours  Mins  Secs\r\n %d  :  %d  :  %d\r\n",
//				hours, mins, secs);
//		HAL_UART_Transmit(&huart6, txd_msg_buffer,
//				strlen((char*) txd_msg_buffer), 100);
	/* USER CODE END WHILE */

}

void SystemClock_Config(void) {
	RCC_OscInitTypeDef RCC_OscInitStruct = { 0 };
	RCC_ClkInitTypeDef RCC_ClkInitStruct = { 0 };

	/** Configure the main internal regulator output voltage
	 */
	__HAL_RCC_PWR_CLK_ENABLE();
	__HAL_PWR_VOLTAGESCALING_CONFIG(PWR_REGULATOR_VOLTAGE_SCALE2);

	/** Initializes the RCC Oscillators according to the specified parameters
	 * in the RCC_OscInitTypeDef structure.
	 */
	RCC_OscInitStruct.OscillatorType = RCC_OSCILLATORTYPE_HSI;
	RCC_OscInitStruct.HSIState = RCC_HSI_ON;
	RCC_OscInitStruct.HSICalibrationValue = RCC_HSICALIBRATION_DEFAULT;
	RCC_OscInitStruct.PLL.PLLState = RCC_PLL_NONE;
	if (HAL_RCC_OscConfig(&RCC_OscInitStruct) != HAL_OK) {
		Error_Handler();
	}

	/** Initializes the CPU, AHB and APB buses clocks
	 */
	RCC_ClkInitStruct.ClockType = RCC_CLOCKTYPE_HCLK | RCC_CLOCKTYPE_SYSCLK
			| RCC_CLOCKTYPE_PCLK1 | RCC_CLOCKTYPE_PCLK2;
	RCC_ClkInitStruct.SYSCLKSource = RCC_SYSCLKSOURCE_HSI;
	RCC_ClkInitStruct.AHBCLKDivider = RCC_SYSCLK_DIV1;
	RCC_ClkInitStruct.APB1CLKDivider = RCC_HCLK_DIV1;
	RCC_ClkInitStruct.APB2CLKDivider = RCC_HCLK_DIV1;

	if (HAL_RCC_ClockConfig(&RCC_ClkInitStruct, FLASH_LATENCY_0) != HAL_OK) {
		Error_Handler();
	}
}

static void MX_ADC1_Init(void) {

	ADC_ChannelConfTypeDef sConfig = { 0 };

	/** Configure the global features of the ADC (Clock, Resolution, Data Alignment and number of conversion)
	 */
	hadc1.Instance = ADC1;
	hadc1.Init.ClockPrescaler = ADC_CLOCK_SYNC_PCLK_DIV2;
	hadc1.Init.Resolution = ADC_RESOLUTION_12B;
	hadc1.Init.ScanConvMode = DISABLE;
	hadc1.Init.ContinuousConvMode = DISABLE;
	hadc1.Init.DiscontinuousConvMode = DISABLE;
	hadc1.Init.ExternalTrigConvEdge = ADC_EXTERNALTRIGCONVEDGE_NONE;
	hadc1.Init.ExternalTrigConv = ADC_SOFTWARE_START;
	hadc1.Init.DataAlign = ADC_DATAALIGN_RIGHT;
	hadc1.Init.NbrOfConversion = 1;
	hadc1.Init.DMAContinuousRequests = DISABLE;
	hadc1.Init.EOCSelection = ADC_EOC_SINGLE_CONV;
	if (HAL_ADC_Init(&hadc1) != HAL_OK) {
		Error_Handler();
	}

	/** Configure for the selected ADC regular channel its corresponding rank in the sequencer and its sample time.
	 */
	sConfig.Channel = ADC_CHANNEL_9;
	sConfig.Rank = 1;
	sConfig.SamplingTime = ADC_SAMPLETIME_3CYCLES;
	if (HAL_ADC_ConfigChannel(&hadc1, &sConfig) != HAL_OK) {
		Error_Handler();
	}

}

static void MX_TIM1_Init(void) {

	TIM_MasterConfigTypeDef sMasterConfig = { 0 };
	TIM_OC_InitTypeDef sConfigOC = { 0 };
	TIM_BreakDeadTimeConfigTypeDef sBreakDeadTimeConfig = { 0 };

	htim1.Instance = TIM1;
	htim1.Init.Prescaler = 16 - 1;
	htim1.Init.CounterMode = TIM_COUNTERMODE_UP;
	htim1.Init.Period = 20000 - 1;
	htim1.Init.ClockDivision = TIM_CLOCKDIVISION_DIV1;
	htim1.Init.RepetitionCounter = 0;
	htim1.Init.AutoReloadPreload = TIM_AUTORELOAD_PRELOAD_ENABLE;
	if (HAL_TIM_PWM_Init(&htim1) != HAL_OK) {
		Error_Handler();
	}
	sMasterConfig.MasterOutputTrigger = TIM_TRGO_RESET;
	sMasterConfig.MasterSlaveMode = TIM_MASTERSLAVEMODE_DISABLE;
	if (HAL_TIMEx_MasterConfigSynchronization(&htim1, &sMasterConfig)
			!= HAL_OK) {
		Error_Handler();
	}
	sConfigOC.OCMode = TIM_OCMODE_PWM1;
	sConfigOC.Pulse = 500 - 1;
	sConfigOC.OCPolarity = TIM_OCPOLARITY_HIGH;
	sConfigOC.OCNPolarity = TIM_OCNPOLARITY_HIGH;
	sConfigOC.OCFastMode = TIM_OCFAST_DISABLE;
	sConfigOC.OCIdleState = TIM_OCIDLESTATE_RESET;
	sConfigOC.OCNIdleState = TIM_OCNIDLESTATE_RESET;
	if (HAL_TIM_PWM_ConfigChannel(&htim1, &sConfigOC, TIM_CHANNEL_2)
			!= HAL_OK) {
		Error_Handler();
	}
	sBreakDeadTimeConfig.OffStateRunMode = TIM_OSSR_DISABLE;
	sBreakDeadTimeConfig.OffStateIDLEMode = TIM_OSSI_DISABLE;
	sBreakDeadTimeConfig.LockLevel = TIM_LOCKLEVEL_OFF;
	sBreakDeadTimeConfig.DeadTime = 0;
	sBreakDeadTimeConfig.BreakState = TIM_BREAK_DISABLE;
	sBreakDeadTimeConfig.BreakPolarity = TIM_BREAKPOLARITY_HIGH;
	sBreakDeadTimeConfig.AutomaticOutput = TIM_AUTOMATICOUTPUT_DISABLE;
	if (HAL_TIMEx_ConfigBreakDeadTime(&htim1, &sBreakDeadTimeConfig)
			!= HAL_OK) {
		Error_Handler();
	}
	HAL_TIM_MspPostInit(&htim1);

}

static void MX_TIM2_Init(void) {

	TIM_ClockConfigTypeDef sClockSourceConfig = { 0 };
	TIM_MasterConfigTypeDef sMasterConfig = { 0 };
	TIM_IC_InitTypeDef sConfigIC = { 0 };

	htim2.Instance = TIM2;
	htim2.Init.Prescaler = 16 - 1;
	htim2.Init.CounterMode = TIM_COUNTERMODE_UP;
	htim2.Init.Period = 65536 - 1;
	htim2.Init.ClockDivision = TIM_CLOCKDIVISION_DIV1;
	htim2.Init.AutoReloadPreload = TIM_AUTORELOAD_PRELOAD_ENABLE;
	if (HAL_TIM_Base_Init(&htim2) != HAL_OK) {
		Error_Handler();
	}
	sClockSourceConfig.ClockSource = TIM_CLOCKSOURCE_INTERNAL;
	if (HAL_TIM_ConfigClockSource(&htim2, &sClockSourceConfig) != HAL_OK) {
		Error_Handler();
	}
	if (HAL_TIM_IC_Init(&htim2) != HAL_OK) {
		Error_Handler();
	}
	sMasterConfig.MasterOutputTrigger = TIM_TRGO_RESET;
	sMasterConfig.MasterSlaveMode = TIM_MASTERSLAVEMODE_DISABLE;
	if (HAL_TIMEx_MasterConfigSynchronization(&htim2, &sMasterConfig)
			!= HAL_OK) {
		Error_Handler();
	}
	sConfigIC.ICPolarity = TIM_INPUTCHANNELPOLARITY_BOTHEDGE;
	sConfigIC.ICSelection = TIM_ICSELECTION_DIRECTTI;
	sConfigIC.ICPrescaler = TIM_ICPSC_DIV1;
	sConfigIC.ICFilter = 0;
	if (HAL_TIM_IC_ConfigChannel(&htim2, &sConfigIC, TIM_CHANNEL_1) != HAL_OK) {
		Error_Handler();
	}

}

static void MX_TIM3_Init(void) {

	TIM_ClockConfigTypeDef sClockSourceConfig = { 0 };
	TIM_MasterConfigTypeDef sMasterConfig = { 0 };
	TIM_OC_InitTypeDef sConfigOC = { 0 };

	htim3.Instance = TIM3;
	htim3.Init.Prescaler = 16 - 1;
	htim3.Init.CounterMode = TIM_COUNTERMODE_UP;
	htim3.Init.Period = 2000 - 1;
	htim3.Init.ClockDivision = TIM_CLOCKDIVISION_DIV1;
	htim3.Init.AutoReloadPreload = TIM_AUTORELOAD_PRELOAD_ENABLE;
	if (HAL_TIM_Base_Init(&htim3) != HAL_OK) {
		Error_Handler();
	}
	sClockSourceConfig.ClockSource = TIM_CLOCKSOURCE_INTERNAL;
	if (HAL_TIM_ConfigClockSource(&htim3, &sClockSourceConfig) != HAL_OK) {
		Error_Handler();
	}
	if (HAL_TIM_PWM_Init(&htim3) != HAL_OK) {
		Error_Handler();
	}
	sMasterConfig.MasterOutputTrigger = TIM_TRGO_RESET;
	sMasterConfig.MasterSlaveMode = TIM_MASTERSLAVEMODE_DISABLE;
	if (HAL_TIMEx_MasterConfigSynchronization(&htim3, &sMasterConfig)
			!= HAL_OK) {
		Error_Handler();
	}
	sConfigOC.OCMode = TIM_OCMODE_PWM1;
	sConfigOC.Pulse = 1200 - 1;
	sConfigOC.OCPolarity = TIM_OCPOLARITY_HIGH;
	sConfigOC.OCFastMode = TIM_OCFAST_DISABLE;
	if (HAL_TIM_PWM_ConfigChannel(&htim3, &sConfigOC, TIM_CHANNEL_1)
			!= HAL_OK) {
		Error_Handler();
	}
	sConfigOC.Pulse = 0;
	if (HAL_TIM_PWM_ConfigChannel(&htim3, &sConfigOC, TIM_CHANNEL_3)
			!= HAL_OK) {
		Error_Handler();
	}
	HAL_TIM_MspPostInit(&htim3);

}

static void MX_TIM5_Init(void) {

	TIM_ClockConfigTypeDef sClockSourceConfig = { 0 };
	TIM_MasterConfigTypeDef sMasterConfig = { 0 };

	htim5.Instance = TIM5;
	htim5.Init.Prescaler = 16000 - 1;
	htim5.Init.CounterMode = TIM_COUNTERMODE_UP;
	htim5.Init.Period = 1000 - 1;
	htim5.Init.ClockDivision = TIM_CLOCKDIVISION_DIV1;
	htim5.Init.AutoReloadPreload = TIM_AUTORELOAD_PRELOAD_DISABLE;
	if (HAL_TIM_Base_Init(&htim5) != HAL_OK) {
		Error_Handler();
	}
	sClockSourceConfig.ClockSource = TIM_CLOCKSOURCE_INTERNAL;
	if (HAL_TIM_ConfigClockSource(&htim5, &sClockSourceConfig) != HAL_OK) {
		Error_Handler();
	}
	sMasterConfig.MasterOutputTrigger = TIM_TRGO_RESET;
	sMasterConfig.MasterSlaveMode = TIM_MASTERSLAVEMODE_DISABLE;
	if (HAL_TIMEx_MasterConfigSynchronization(&htim5, &sMasterConfig)
			!= HAL_OK) {
		Error_Handler();
	}

}

static void MX_USART2_UART_Init(void) {

	huart2.Instance = USART2;
	huart2.Init.BaudRate = 115200;
	huart2.Init.WordLength = UART_WORDLENGTH_8B;
	huart2.Init.StopBits = UART_STOPBITS_1;
	huart2.Init.Parity = UART_PARITY_NONE;
	huart2.Init.Mode = UART_MODE_TX_RX;
	huart2.Init.HwFlowCtl = UART_HWCONTROL_NONE;
	huart2.Init.OverSampling = UART_OVERSAMPLING_16;
	if (HAL_UART_Init(&huart2) != HAL_OK) {
		Error_Handler();
	}

}

static void MX_USART6_UART_Init(void) {

	huart6.Instance = USART6;
	huart6.Init.BaudRate = 9600;
	huart6.Init.WordLength = UART_WORDLENGTH_8B;
	huart6.Init.StopBits = UART_STOPBITS_1;
	huart6.Init.Parity = UART_PARITY_NONE;
	huart6.Init.Mode = UART_MODE_TX_RX;
	huart6.Init.HwFlowCtl = UART_HWCONTROL_NONE;
	huart6.Init.OverSampling = UART_OVERSAMPLING_16;
	if (HAL_UART_Init(&huart6) != HAL_OK) {
		Error_Handler();
	}

}

static void MX_GPIO_Init(void) {
	GPIO_InitTypeDef GPIO_InitStruct = { 0 };

	/* GPIO Ports Clock Enable */
	__HAL_RCC_GPIOC_CLK_ENABLE();
	__HAL_RCC_GPIOH_CLK_ENABLE();
	__HAL_RCC_GPIOA_CLK_ENABLE();
	__HAL_RCC_GPIOB_CLK_ENABLE();

	/*Configure GPIO pin Output Level */
	HAL_GPIO_WritePin(GPIOA,
	DIGIT_A3_Pin | LD2_Pin | LED_BLUE_Pin | LED_GREEN_Pin | LED_RED_Pin,
			GPIO_PIN_RESET);

	/*Configure GPIO pin Output Level */
	HAL_GPIO_WritePin(GPIOC,
	DIGIT_A1_Pin | DIGIT_B0_Pin | DIGIT_B1_Pin | DIGIT_B2_Pin, GPIO_PIN_RESET);

	/*Configure GPIO pin Output Level */
	HAL_GPIO_WritePin(GPIOB,
	DIGIT_B3_Pin | DIGIT_A0_Pin | HCSR04_TRIG_Pin | DIGIT_A2_Pin,
			GPIO_PIN_RESET);

	/*Configure GPIO pin : B1_Pin */
	GPIO_InitStruct.Pin = B1_Pin;
	GPIO_InitStruct.Mode = GPIO_MODE_IT_FALLING;
	GPIO_InitStruct.Pull = GPIO_NOPULL;
	HAL_GPIO_Init(B1_GPIO_Port, &GPIO_InitStruct);

	/*Configure GPIO pins : DIGIT_A3_Pin LD2_Pin LED_BLUE_Pin LED_GREEN_Pin
	 LED_RED_Pin */
	GPIO_InitStruct.Pin = DIGIT_A3_Pin | LD2_Pin | LED_BLUE_Pin | LED_GREEN_Pin
			| LED_RED_Pin;
	GPIO_InitStruct.Mode = GPIO_MODE_OUTPUT_PP;
	GPIO_InitStruct.Pull = GPIO_NOPULL;
	GPIO_InitStruct.Speed = GPIO_SPEED_FREQ_LOW;
	HAL_GPIO_Init(GPIOA, &GPIO_InitStruct);

	/*Configure GPIO pin : RPM_TICK_Pin */
	GPIO_InitStruct.Pin = RPM_TICK_Pin;
	GPIO_InitStruct.Mode = GPIO_MODE_IT_RISING;
	GPIO_InitStruct.Pull = GPIO_NOPULL;
	HAL_GPIO_Init(RPM_TICK_GPIO_Port, &GPIO_InitStruct);

	/*Configure GPIO pins : DIGIT_A1_Pin DIGIT_B0_Pin DIGIT_B1_Pin DIGIT_B2_Pin */
	GPIO_InitStruct.Pin = DIGIT_A1_Pin | DIGIT_B0_Pin | DIGIT_B1_Pin
			| DIGIT_B2_Pin;
	GPIO_InitStruct.Mode = GPIO_MODE_OUTPUT_PP;
	GPIO_InitStruct.Pull = GPIO_NOPULL;
	GPIO_InitStruct.Speed = GPIO_SPEED_FREQ_LOW;
	HAL_GPIO_Init(GPIOC, &GPIO_InitStruct);

	/*Configure GPIO pins : DIGIT_B3_Pin DIGIT_A0_Pin HCSR04_TRIG_Pin DIGIT_A2_Pin */
	GPIO_InitStruct.Pin = DIGIT_B3_Pin | DIGIT_A0_Pin | HCSR04_TRIG_Pin
			| DIGIT_A2_Pin;
	GPIO_InitStruct.Mode = GPIO_MODE_OUTPUT_PP;
	GPIO_InitStruct.Pull = GPIO_NOPULL;
	GPIO_InitStruct.Speed = GPIO_SPEED_FREQ_LOW;
	HAL_GPIO_Init(GPIOB, &GPIO_InitStruct);

	/* EXTI interrupt init*/
	HAL_NVIC_SetPriority(EXTI2_IRQn, 0, 0);
	HAL_NVIC_EnableIRQ(EXTI2_IRQn);

	HAL_NVIC_SetPriority(EXTI15_10_IRQn, 0, 0);
	HAL_NVIC_EnableIRQ(EXTI15_10_IRQn);

}

/* USER CODE BEGIN 4 */

void HAL_GPIO_EXTI_Callback(uint16_t GPIO_Pin) {
	if (GPIO_Pin == RPM_TICK_Pin) {
		rpm_tick_count += 1;
	}
}

void HAL_TIM_IC_CaptureCallback(TIM_HandleTypeDef *htim) {
	if (htim->Instance == TIM2) {

		if (htim->Channel == 1) {
			if (first_edge == 0) {
				time_edge1 = HAL_TIM_ReadCapturedValue(htim, TIM_CHANNEL_1);
				first_edge = 1;
			} else {
				time_edge2 = HAL_TIM_ReadCapturedValue(htim, TIM_CHANNEL_1);
				__HAL_TIM_SET_COUNTER(htim, 0);
				hcsr04_Rx_flag = 1;
				//first_edge = 0;
			}
		}
	}
}
/* USER CODE BEGIN 4 */
void HAL_TIM_PeriodElapsedCallback(TIM_HandleTypeDef *htim)
//void HAL_TIM_TriggerCallback(TIM_HandleTypeDef *htim)
{
	if (htim->Instance == TIM5) {
		clock_secs += 1; // this could be a variable for seconds etc.
	}
}

/* USER CODE END 4 */

void Error_Handler(void) {
	__disable_irq();
	while (1) {
	}
}
